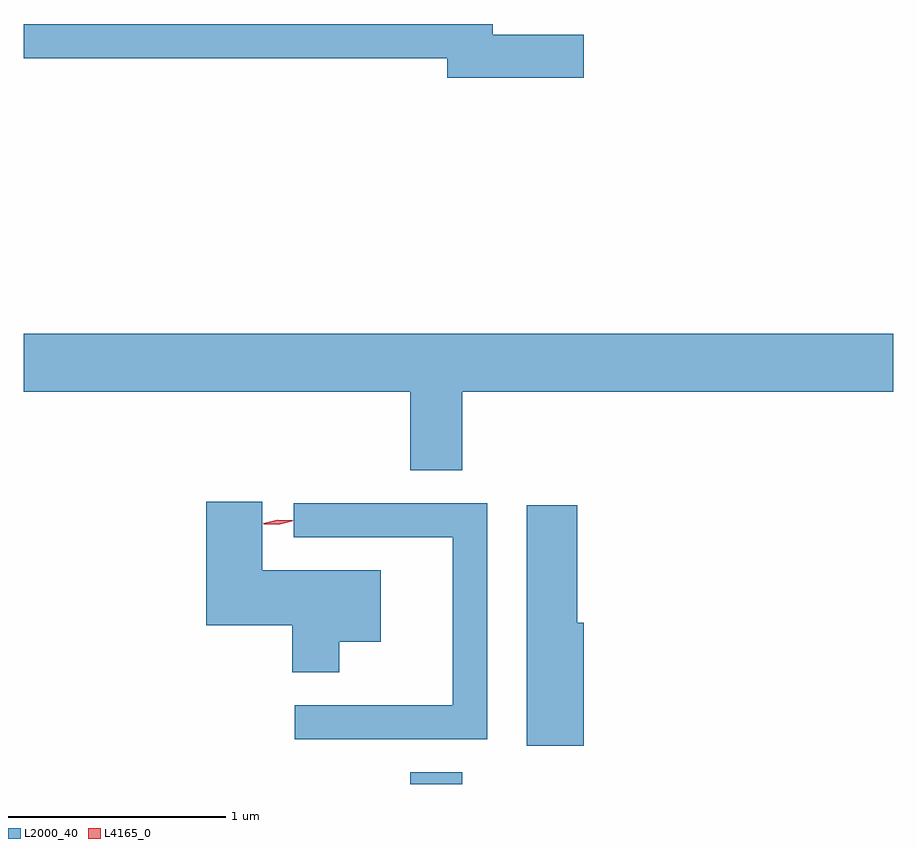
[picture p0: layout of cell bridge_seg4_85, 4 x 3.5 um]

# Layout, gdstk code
import gdstk
lib = gdstk.Library(unit=1e-6, precision=1e-09)
def R(c, l, rs):  # rectangles x0, y0, x1, y1
    for r in rs: c.add(gdstk.rectangle(r[:2], r[2:], *l))
def P(c, l, *ps):  # polygons
    for p in ps: c.add(gdstk.Polygon(p, *l))
L2000_40 = (2000, 40)
L4165_0 = (4165, 0)

bridge_seg4_85 = lib.new_cell('bridge_seg4_85')
R(bridge_seg4_85, L2000_40, [(1061.656,1383.951,1061.894,1384.004)])
P(bridge_seg4_85, L2000_40, [(1062.454,1387.399),(1062.034,1387.399),(1062.034,1387.449),(1059.877,1387.449),(1059.877,1387.291),(1061.826,1387.291),(1061.826,1387.201),(1062.454,1387.201)],
  [(1061.894,1385.756),(1063.877,1385.756),(1063.877,1386.024),(1059.877,1386.024),(1059.877,1385.756),(1061.656,1385.756),(1061.656,1385.396),(1061.894,1385.396)],
  [(1061.329,1384.606),(1061.519,1384.606),(1061.519,1384.934),(1060.974,1384.934),(1060.974,1385.249),(1060.716,1385.249),(1060.716,1384.681),(1061.111,1384.681),(1061.111,1384.466),(1061.329,1384.466)],
  [(1062.009,1385.244),(1061.118,1385.244),(1061.118,1385.086),(1061.851,1385.086),(1061.851,1384.314),(1061.123,1384.314),(1061.123,1384.156),(1062.009,1384.156)],
  [(1062.454,1384.694),(1062.424,1384.694),(1062.424,1385.234),(1062.191,1385.234),(1062.191,1384.126),(1062.454,1384.126)])
P(bridge_seg4_85, L4165_0, [(1061.048,1385.148),(1060.978,1385.15),(1060.977,1385.151),(1060.978,1385.151),(1061.046,1385.168),(1061.115,1385.165),(1061.116,1385.164),(1061.115,1385.164)],
  [(1061.048,1385.145),(1060.981,1385.147),(1060.981,1385.147),(1060.981,1385.148),(1061.045,1385.164),(1061.112,1385.162),(1061.112,1385.162),(1061.112,1385.161)])

lib.write_gds('bridge_seg4_85.gds')
